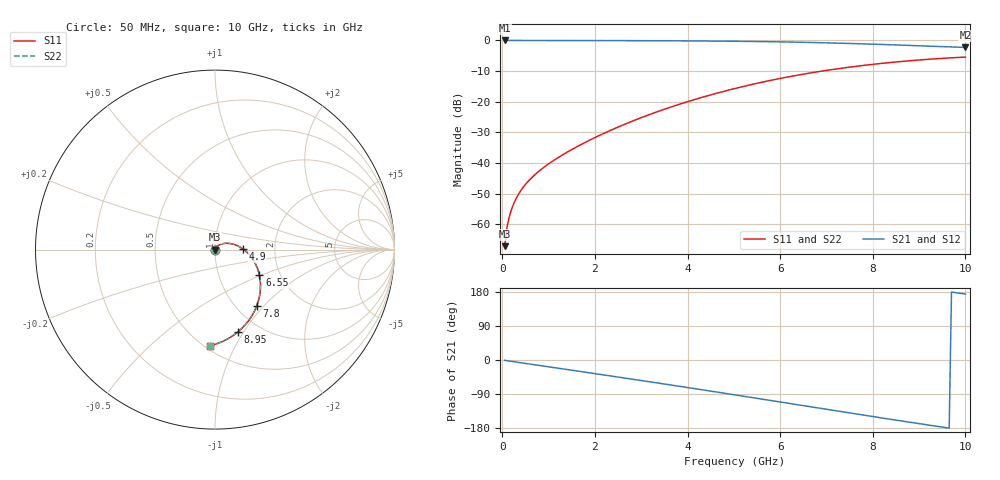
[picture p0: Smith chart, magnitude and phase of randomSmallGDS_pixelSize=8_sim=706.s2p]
! freq	dB(S11)	phase(S11)	dB(S12)	phase(S12)
!  dB(S21)	phase(S21)	dB(S22)	phase(S22)
!S-par simulation data
#  GHz  S  DB  R 50
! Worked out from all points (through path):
!   200 points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, 50 MHz to 10 GHz, reference 50 ohm
!   highest |S21| = 0.00 dB at 50 MHz (marker M1); lowest = -2.3 dB at 10 GHz (marker M2)
!   group delay of S21, straight-line fit = 52.2 ps
!   lowest |S11| = -67.2 dB at 50 MHz (marker M3), VSWR 1.00, Z = 50 + j0.0435 ohm
!   |S11| at or under -10 dB: start of sweep to 6.904 GHz
!   |S22| runs from -67.2 to -5.4 dB; largest |S21 - S12| = 0
!   S11 on the Smith chart (normalised r, x): 50 MHz: 1.00, +0.00; 4.9 GHz: 1.37, +0.01; 6.55 GHz: 1.57, -0.49; 7.8 GHz: 1.23, -0.91; 8.95 GHz: 0.79, -0.94; 10 GHz: 0.53, -0.80
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0.05  -67.18 83.9  -0.00 -0.9  -0.00 -0.9  -67.18 83.9
0.1  -61.18 85.5  -0.00 -1.8  -0.00 -1.8  -61.18 85.5
0.15  -57.65 85.4  -0.00 -2.7  -0.00 -2.7  -57.65 85.4
0.2  -55.14 84.9  -0.00 -3.6  -0.00 -3.6  -55.14 84.9
0.3  -51.59 83.5  -0.00 -5.4  -0.00 -5.4  -51.59 83.5
0.45  -47.97 81.0  -0.01 -8.1  -0.01 -8.1  -47.97 81.0
0.65  -44.59 77.8  -0.01 -11.7  -0.01 -11.7  -44.59 77.7
0.95  -40.84 72.9  -0.02 -17.1  -0.02 -17.1  -40.84 72.9
1.75  -33.60 59.6  -0.04 -31.4  -0.04 -31.4  -33.60 59.6
2.55  -27.96 45.4  -0.06 -45.9  -0.06 -45.9  -27.96 45.4
3.4  -22.99 29.7  -0.10 -61.5  -0.10 -61.5  -22.99 29.7
4.15  -19.30 15.7  -0.15 -75.4  -0.15 -75.4  -19.30 15.7
4.9  -16.16 1.5  -0.24 -89.6  -0.24 -89.6  -16.16 1.5
5.05  -15.59 -1.3  -0.26 -92.5  -0.26 -92.5  -15.59 -1.3
5.8  -13.02 -15.7  -0.41 -106.9  -0.41 -106.9  -13.02 -15.7
6.55  -10.87 -30.0  -0.62 -121.4  -0.62 -121.4  -10.87 -30.0
6.7  -10.49 -32.9  -0.67 -124.3  -0.67 -124.3  -10.49 -32.9
7.25  -9.23 -43.3  -0.88 -134.9  -0.88 -134.9  -9.23 -43.4
7.8  -8.15 -53.7  -1.12 -145.5  -1.12 -145.5  -8.15 -53.7
8.35  -7.24 -63.8  -1.39 -155.9  -1.39 -155.9  -7.24 -63.8
8.95  -6.44 -74.6  -1.70 -167.0  -1.70 -167.0  -6.44 -74.6
10  -5.43 -92.8  -2.28 174.0  -2.28 174.0  -5.43 -92.8
